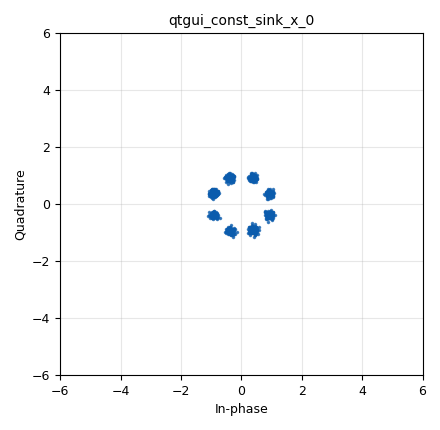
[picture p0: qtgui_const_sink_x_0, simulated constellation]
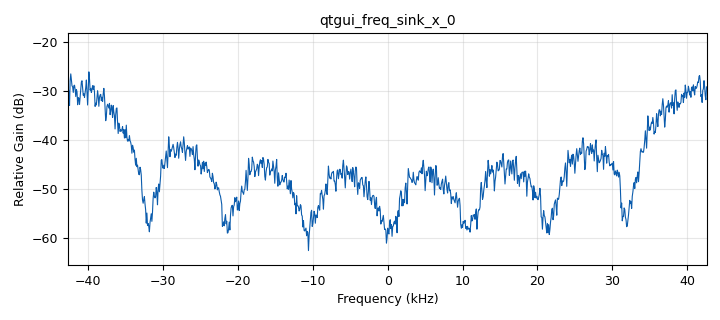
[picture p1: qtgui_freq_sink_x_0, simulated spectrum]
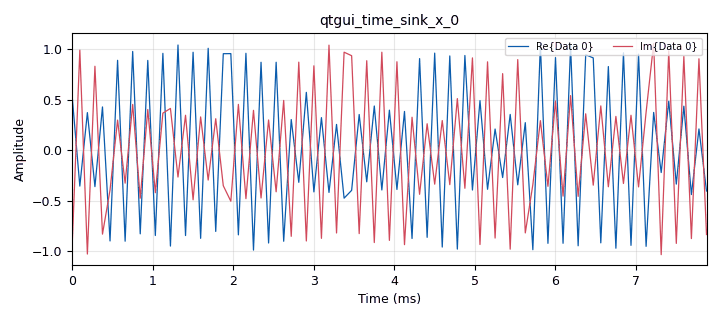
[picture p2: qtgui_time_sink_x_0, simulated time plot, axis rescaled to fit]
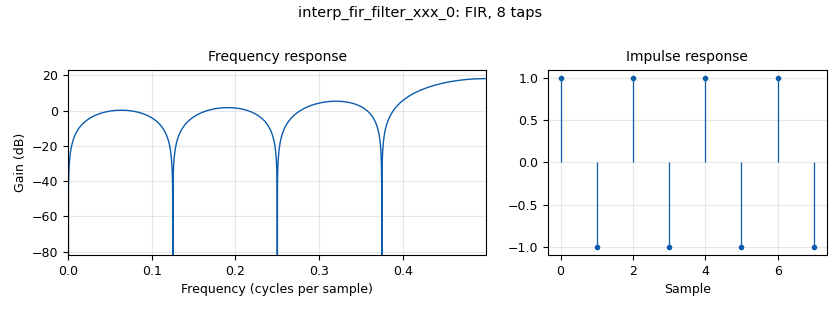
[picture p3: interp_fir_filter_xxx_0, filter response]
options:
  parameters:
    generate_options: qt_gui
    id: ModulacionHomero
    output_language: python
    title: Not titled yet
  states: {}

blocks:
- name: M
  id: variable
  parameters:
    value: '8'
  states: {}
- name: Nbps
  id: variable
  parameters:
    value: int(math.log(M,2))
  states: {}
- name: Rb
  id: variable
  parameters:
    value: '32000'
  states: {}
- name: Rs
  id: variable
  parameters:
    value: Rb/Nbps
  states: {}
- name: Samp_rate
  id: variable
  parameters:
    value: Rs*Sps
  states: {}
- name: Sps
  id: variable
  parameters:
    value: len(h)
  states: {}
- name: h
  id: variable
  parameters:
    value: '[1,-1,1,-1,1,-1,1,-1]'
  states: {}
- name: analog_const_source_x_0
  id: analog_const_source_x
  parameters:
    const: '1'
    type: float
  states: {}
- name: analog_noise_source_x_0
  id: analog_noise_source_x
  parameters:
    amp: '0.1'
    noise_type: analog.GR_GAUSSIAN
    seed: '0'
    type: complex
  states: {}
- name: analog_random_source_x_0
  id: analog_random_source_x
  parameters:
    max: '2'
    min: '0'
    num_samps: '1000'
    repeat: 'True'
    type: byte
  states: {}
- name: blocks_add_const_vxx_0
  id: blocks_add_const_vxx
  parameters:
    const: math.pi/M
    type: float
  states: {}
- name: blocks_add_xx_0
  id: blocks_add_xx
  parameters:
    type: complex
  states: {}
- name: blocks_char_to_float_0
  id: blocks_char_to_float
  parameters:
    scale: '1'
  states: {}
- name: blocks_multiply_const_vxx_0
  id: blocks_multiply_const_vxx
  parameters:
    const: 2*math.pi/M
    type: float
  states: {}
- name: blocks_null_sink_0
  id: blocks_null_sink
  parameters:
    type: complex
  states: {state: disabled}
- name: blocks_repack_bits_bb_0
  id: blocks_repack_bits_bb
  parameters:
    endianness: gr.GR_LSB_FIRST
    k: '1'
    l: Nbps
  states: {}
- name: epy_block_0
  id: epy_block
  parameters:
    _source_code: "\nimport numpy as np\nfrom gnuradio import gr\n\n\nclass blk(gr.sync_block):  # other base classes are basic_block, decim_block, interp_block\n    \"\"\"Embedded Python Block example - a simple multiply const\"\"\"\n\n    def __init__(self, example_param=1.0):  # only default arguments here\n        \"\"\"arguments to this function show up as parameters in GRC\"\"\"\n        gr.sync_block.__init__(\n            self,\n            name='VCO complex',   # will show up in GRC\n            in_sig=[np.float32, np.float32],\n            out_sig=[np.complex64]\n        )\n        # if an attribute with the same name as a parameter is found,\n        # a callback is registered (properties work, too).\n        self.example_param = example_param\n\n    def work(self, input_items, output_items):\n        Q=input_items[0]\n        A=input_items[1]\n        sec=output_items[0]\n        sec[:] = A*np.exp(1.j*Q)\n        return len(sec)\n"
    example_param: '1.0'
  states: {}
- name: import_0
  id: import
  parameters:
    imports: import math
  states: {}
- name: interp_fir_filter_xxx_0
  id: interp_fir_filter_xxx
  parameters:
    interp: Sps
    taps: h
    type: ccc
  states: {}
- name: qtgui_const_sink_x_0
  id: qtgui_const_sink_x
  parameters:
    size: '1024'
    type: complex
    xmax: '6'
    xmin: '-6'
    ymax: '6'
    ymin: '-6'
  states: {}
- name: qtgui_freq_sink_x_0
  id: qtgui_freq_sink_x
  parameters:
    autoscale: 'True'
    average: '0.05'
    bw: Samp_rate
    fc: '0'
    fftsize: '1024'
    type: complex
  states: {}
- name: qtgui_time_sink_x_0
  id: qtgui_time_sink_x
  parameters:
    color1: red
    color2: green
    grid: 'True'
    size: 32*Sps//Nbps
    srate: Rs
    style2: '2'
    type: complex
  states: {}

connections:
- [analog_const_source_x_0, '0', epy_block_0, '1']
- [analog_noise_source_x_0, '0', blocks_add_xx_0, '0']
- [analog_random_source_x_0, '0', blocks_repack_bits_bb_0, '0']
- [blocks_add_const_vxx_0, '0', epy_block_0, '0']
- [blocks_add_xx_0, '0', blocks_null_sink_0, '0']
- [blocks_add_xx_0, '0', qtgui_const_sink_x_0, '0']
- [blocks_add_xx_0, '0', qtgui_freq_sink_x_0, '0']
- [blocks_add_xx_0, '0', qtgui_time_sink_x_0, '0']
- [blocks_char_to_float_0, '0', blocks_multiply_const_vxx_0, '0']
- [blocks_multiply_const_vxx_0, '0', blocks_add_const_vxx_0, '0']
- [blocks_repack_bits_bb_0, '0', blocks_char_to_float_0, '0']
- [epy_block_0, '0', interp_fir_filter_xxx_0, '0']
- [interp_fir_filter_xxx_0, '0', blocks_add_xx_0, '1']

metadata:
  file_format: 1
